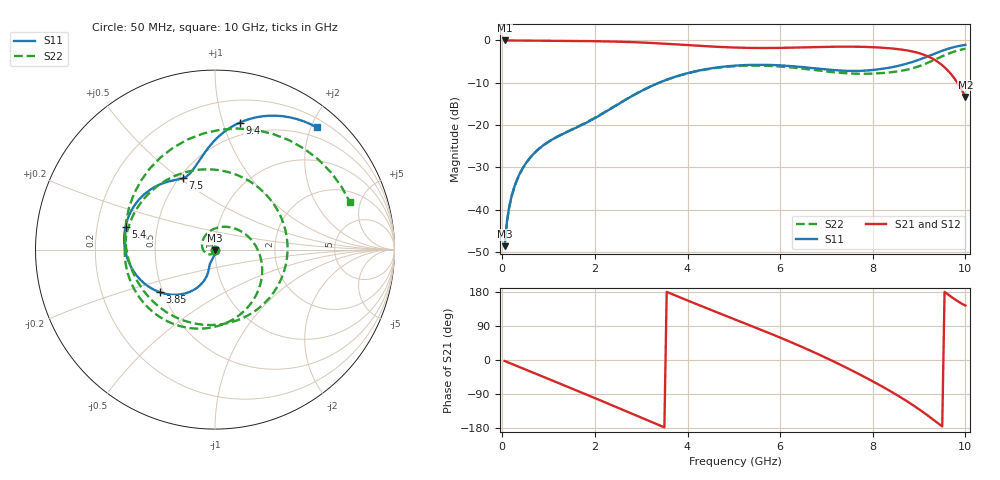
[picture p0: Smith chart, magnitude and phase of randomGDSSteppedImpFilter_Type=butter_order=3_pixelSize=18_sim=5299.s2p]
! freq	dB(S11)	phase(S11)	dB(S12)	phase(S12)
!  dB(S21)	phase(S21)	dB(S22)	phase(S22)
!S-par simulation data
#  GHz  S  DB  R 50
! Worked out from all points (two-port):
!   200 points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, 50 MHz to 10 GHz, reference 50 ohm
!   highest |S21| = 0.00 dB at 50 MHz (marker M1); lowest = -13.4 dB at 10 GHz (marker M2)
!   |S21| within 3 dB of the highest: start of sweep to 9 GHz
!   lowest |S11| = -48.6 dB at 50 MHz (marker M3), VSWR 1.01, Z = 50 - j0.369 ohm
!   |S11| at or under -10 dB: start of sweep to 3.385 GHz
!   |S22| runs from -48.6 to -2.0 dB; largest |S21 - S12| = 0
!   S11 on the Smith chart (normalised r, x): 50 MHz: 1.00, -0.01; 3.85 GHz: 0.48, -0.27; 5.4 GHz: 0.32, +0.11; 7.5 GHz: 0.52, +0.51; 9.4 GHz: 0.39, +1.14; 10 GHz: 0.33, +2.09
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0.05  -48.62 -84.9  -0.00 -2.6  -0.00 -2.6  -48.64 -88.4
0.1  -42.79 -89.0  -0.01 -5.1  -0.01 -5.1  -42.86 -95.0
0.2  -36.86 -92.8  -0.02 -10.1  -0.02 -10.1  -36.95 -104.7
0.5  -29.17 -100.1  -0.04 -25.1  -0.04 -25.1  -29.25 -130.5
1.15  -22.99 -108.9  -0.09 -57.6  -0.09 -57.6  -22.97 171.7
1.75  -19.83 -108.2  -0.15 -87.8  -0.15 -87.8  -19.73 110.7
2.45  -15.43 -108.2  -0.28 -123.6  -0.28 -123.6  -15.35 39.8
3.4  -9.93 -128.3  -0.70 -172.6  -0.70 -172.6  -9.94 -37.7
3.85  -8.20 -142.5  -1.00 164.6  -1.00 164.6  -8.23 -68.8
4.45  -6.69 -162.7  -1.40 134.9  -1.40 134.9  -6.77 -107.4
5.05  -5.93 177.1  -1.69 105.9  -1.69 105.9  -6.07 -144.9
5.4  -5.77 165.6  -1.77 88.9  -1.77 88.9  -5.96 -167.1
6  -5.90 147.0  -1.76 59.1  -1.76 59.1  -6.17 152.1
6.7  -6.54 128.6  -1.58 22.1  -1.58 22.1  -6.94 96.2
7.5  -7.20 114.5  -1.47 -24.6  -1.47 -24.6  -7.81 16.2
7.9  -7.09 109.4  -1.55 -49.8  -1.55 -49.8  -7.87 -29.8
8.35  -6.45 103.4  -1.84 -80.1  -1.84 -80.1  -7.57 -86.1
8.65  -5.74 98.7  -2.20 -102.0  -2.20 -102.0  -7.11 -127.6
9  -4.55 91.6  -3.00 -130.1  -3.00 -130.1  -6.10 178.6
9.4  -2.85 79.1  -5.03 -166.0  -5.03 -166.0  -4.23 112.2
9.7  -1.73 65.6  -8.09 166.3  -8.09 166.3  -2.85 63.6
10  -1.05 50.3  -13.38 143.8  -13.38 143.8  -1.98 19.5
